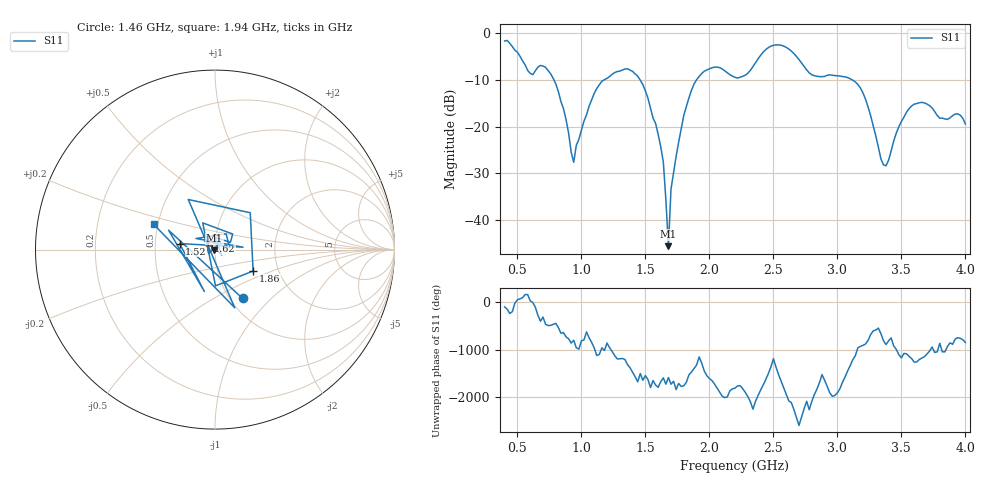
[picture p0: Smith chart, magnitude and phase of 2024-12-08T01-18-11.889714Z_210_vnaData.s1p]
!Created with skrf (http://scikit-rf.org).
# Hz S RI R 50.0
!freq ReS11 ImS11
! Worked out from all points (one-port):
!   181 points, 400 MHz to 4 GHz, reference 50 ohm
!   lowest |S11| = -45.6 dB at 1.68 GHz (marker M1), VSWR 1.01, Z = 49.6 - j0.294 ohm
!   |S11| at or under -10 dB: 784.5 MHz to 1.179 GHz (395 MHz wide, 40.2 % of centre); 1.457 GHz to 1.9 GHz (442.6 MHz wide, 26.4 % of centre); 3.113 GHz to end of sweep
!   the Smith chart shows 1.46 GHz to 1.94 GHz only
!   S11 on the Smith chart (normalised r, x): 1.46 GHz: 1.14, -0.69; 1.52 GHz: 0.67, +0.05; 1.62 GHz: 0.92, +0.09; 1.86 GHz: 1.48, -0.38; 1.94 GHz: 0.48, +0.15
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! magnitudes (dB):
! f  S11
! 400 MHz  -1.7
! 600 MHz  -8.6
! 720 MHz  -7.4
! 860 MHz  -16.2
! 940 MHz  -27.6
! 960 MHz  -24.0
! 1.1 GHz  -12.9
! 1.3 GHz  -8.2
! 1.46 GHz  -10.1
! 1.52 GHz  -14.0
! 1.62 GHz  -24.3
! 1.64 GHz  -27.6
! 1.68 GHz  -45.6
! 1.7 GHz  -33.4
! 1.76 GHz  -23.3
! 1.86 GHz  -12.3
! 1.94 GHz  -8.7
! 2.06 GHz  -7.3
! 2.2 GHz  -9.5
! 2.48 GHz  -2.9
! 2.66 GHz  -4.4
! 2.8 GHz  -8.9
! 3.1 GHz  -9.8
! 3.22 GHz  -14.2
! 3.36 GHz  -28.2
! 3.56 GHz  -16.2
! 3.68 GHz  -15.0
! 4 GHz  -19.5
